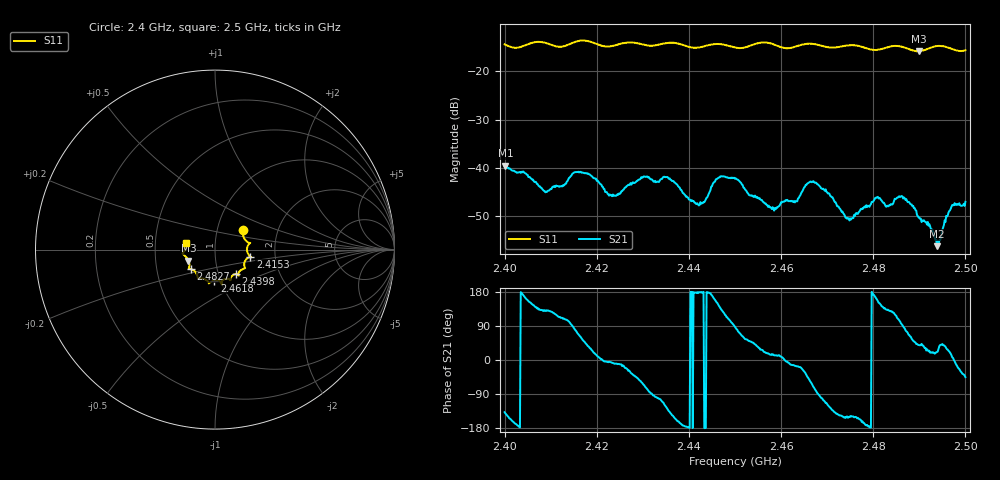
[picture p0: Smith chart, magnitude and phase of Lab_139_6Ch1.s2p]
# Hz S RI R 50
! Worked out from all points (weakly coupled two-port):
!   601 points, 2.4 GHz to 2.5 GHz, reference 50 ohm
!   highest |S21| = -39.54 dB at 2.4002 GHz (marker M1); lowest = -56.1 dB at 2.4938 GHz (marker M2)
!   lowest |S11| = -15.9 dB at 2.4898 GHz (marker M3), VSWR 1.38, Z = 36.9 - j4.61 ohm
!   |S11| at or under -10 dB: start of sweep to end of sweep
!   S12 and S22 are empty: the file has one direction only
!   S11 on the Smith chart (normalised r, x): 2.4 GHz: 1.33, +0.29; 2.4153 GHz: 1.48, -0.12; 2.4398 GHz: 1.21, -0.34; 2.4618 GHz: 0.94, -0.33; 2.4827 GHz: 0.75, -0.17; 2.5 GHz: 0.72, +0.06
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2.4e9  0.1553 0.1065  -0.00771 -0.00702  0 0  0 0
2.400167e9  0.155 0.1042  -0.00818 -0.00666  0 0  0 0
2.409e9  0.1916 0.034  -0.00361 0.0044  0 0  0 0
2.415333e9  0.1963 -0.039  0.00175 0.00888  0 0  0 0
2.416667e9  0.2021 -0.0431  0.00477 0.00756  0 0  0 0
2.423167e9  0.163 -0.0782  0.00521 -0.000558  0 0  0 0
2.433333e9  0.1308 -0.1335  -0.00131 -0.00706  0 0  0 0
2.439833e9  0.1157 -0.136  -0.00494 -0.00024  0 0  0 0
2.4425e9  0.0918 -0.1503  -0.00443 0.000137  0 0  0 0
2.446333e9  0.085 -0.1703  -0.00656 0.00435  0 0  0 0
2.45e9  0.0654 -0.1626  0.000366 0.00773  0 0  0 0
2.458e9  0.0373 -0.1879  0.00362 0.00102  0 0  0 0
2.461833e9  -0.00289 -0.1726  0.00448 -0.00077  0 0  0 0
2.466667e9  -0.0345 -0.1882  0.00327 -0.00633  0 0  0 0
2.474667e9  -0.0916 -0.1604  -0.00265 -0.00145  0 0  0 0
2.482667e9  -0.1352 -0.1093  -0.00282 0.0029  0 0  0 0
2.483333e9  -0.1404 -0.1089  -0.00264 0.00305  0 0  0 0
2.486333e9  -0.1453 -0.1024  -0.000164 0.00506  0 0  0 0
2.489833e9  -0.148 -0.061  0.00238 0.00196  0 0  0 0
2.493833e9  -0.18 -0.0231  0.00145 0.000557  0 0  0 0
2.497167e9  -0.1687 -0.00578  0.00412 0.000497  0 0  0 0
2.5e9  -0.1592 0.0388  0.00315 -0.00317  0 0  0 0
